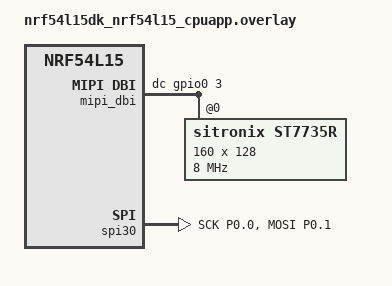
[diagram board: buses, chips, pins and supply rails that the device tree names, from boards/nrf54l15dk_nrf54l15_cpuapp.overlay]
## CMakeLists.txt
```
cmake_minimum_required(VERSION 3.20.0)
find_package(Zephyr REQUIRED HINTS $ENV{ZEPHYR_BASE})

project(tft-screen-1p8inch)

target_sources(app PRIVATE src/main.c src/tft_display.c)
```

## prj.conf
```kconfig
CONFIG_DISPLAY=y
CONFIG_ST7735R=y
CONFIG_MIPI_DBI=y
CONFIG_LOG=y
```

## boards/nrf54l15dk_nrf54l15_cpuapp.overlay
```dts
/* uart30 and spi30 share the same address block (0x104000).
 * Disable uart30 so spi30 (domain-30, gpiote30) can use P0.00–P0.03. */
&uart30 {
	status = "disabled";
};

/* spi22 is unused — free its pins for the camera project */
&spi22 {
	status = "disabled";
};

&pinctrl {
	spi30_default: spi30_default {
		group1 {
			psels = <NRF_PSEL(SPIM_SCK, 0, 0)>,   /* P0.00 */
				<NRF_PSEL(SPIM_MOSI, 0, 1)>;   /* P0.01 */
		};
	};

	spi30_sleep: spi30_sleep {
		group1 {
			psels = <NRF_PSEL(SPIM_SCK, 0, 0)>,
				<NRF_PSEL(SPIM_MOSI, 0, 1)>;
			low-power-enable;
		};
	};
};

&spi30 {
	compatible = "nordic,nrf-spim";
	status = "okay";
	pinctrl-0 = <&spi30_default>;
	pinctrl-1 = <&spi30_sleep>;
	pinctrl-names = "default", "sleep";
	cs-gpios = <&gpio0 2 GPIO_ACTIVE_LOW>;  /* P0.02 */
};

/ {
	mipi_dbi {
		compatible = "zephyr,mipi-dbi-spi";
		spi-dev = <&spi30>;
		dc-gpios = <&gpio0 3 GPIO_ACTIVE_HIGH>;   /* P0.03 */
		/* RESET tied to 3.3V via 10 kΩ — no MCU pin needed */
		write-only;
		#address-cells = <1>;
		#size-cells = <0>;

		st7735r: st7735r@0 {
			compatible = "sitronix,st7735r";
			reg = <0>;
			mipi-max-frequency = <8000000>;
			mipi-mode = "MIPI_DBI_MODE_SPI_4WIRE";
			width = <160>;
			height = <128>;
			x-offset = <0>;
			y-offset = <0>;
			madctl = <0x60>; /* MV+MX: 90° CW landscape */
			colmod = <0x05>;
			vmctr1 = <0x0e>;
			pwctr1 = [A2 02 84];
			pwctr2 = [C5];
			pwctr3 = [0A 00];
			pwctr4 = [8A 2A];
			pwctr5 = [8A EE];
			frmctr1 = [01 2C 2D];
			frmctr2 = [01 2C 2D];
			frmctr3 = [01 2C 2D 01 2C 2D];
			gamctrp1 = [02 1C 07 12 37 32 29 2D 29 25 2B 39 00 01 03 10];
			gamctrn1 = [03 1D 07 06 2E 2C 29 2D 2E 2E 37 3F 00 00 02 10];
		};
	};
};
```

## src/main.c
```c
#include <zephyr/kernel.h>

#include "tft_display.h"
#include "usnlogo.h"

int main(void)
{
	const struct device *display = TFT_DEVICE();

	if (tft_init(display) != 0) {
		printk("Display not ready\n");
		return -1;
	}

	tft_fill_screen(display, TFT_COLOR_BLACK);
	tft_draw_image(display, 0, 0, USNLOGO_WIDTH, USNLOGO_HEIGHT,
		       usnlogo_rgb565);

	/* Example bounding box overlaid on the logo */
	tft_draw_bounding_box(display, 40, 10, 80, 55, "USN 0.97");

	printk("Display ready\n");
	return 0;
}
```
